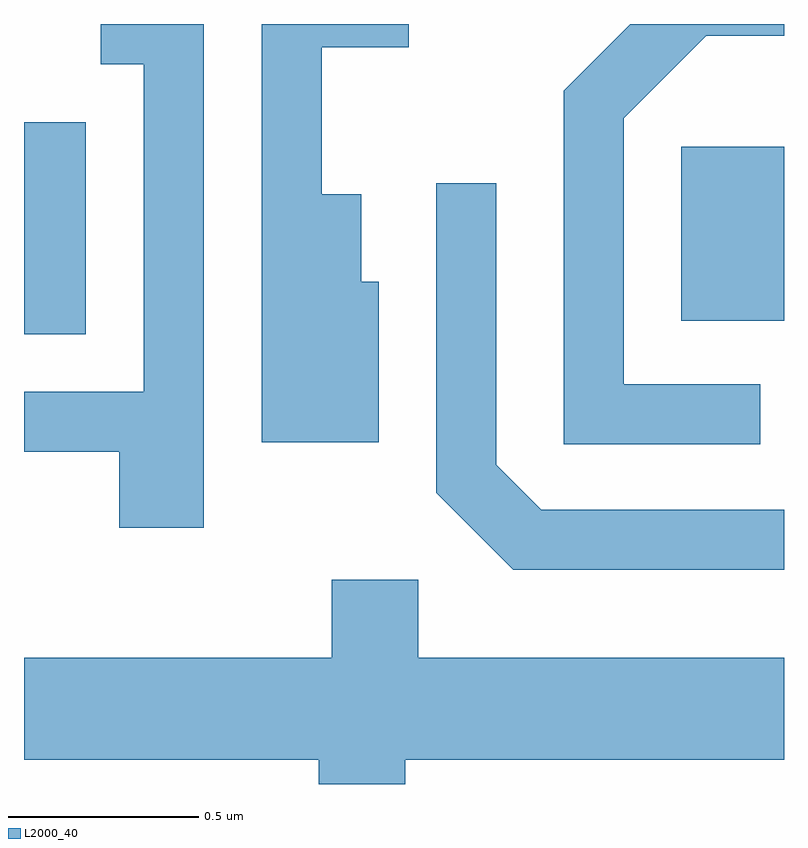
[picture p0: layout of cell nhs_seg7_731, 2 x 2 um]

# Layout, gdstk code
import gdstk
lib = gdstk.Library(unit=1e-6, precision=1e-09)
def R(c, l, rs):  # rectangles x0, y0, x1, y1
    for r in rs: c.add(gdstk.rectangle(r[:2], r[2:], *l))
def P(c, l, *ps):  # polygons
    for p in ps: c.add(gdstk.Polygon(p, *l))
L2000_40 = (2000, 40)

nhs_seg7_731 = lib.new_cell('nhs_seg7_731')
R(nhs_seg7_731, L2000_40, [(190.611,1715.436,190.774,1715.994), (192.341,1715.471,192.611,1715.929)])
P(nhs_seg7_731, L2000_40, [(192.548,1715.304),(192.189,1715.304),(192.189,1716.004),(192.407,1716.221),(192.611,1716.221),(192.611,1716.252),(192.207,1716.252),(192.031,1716.077),(192.031,1715.146),(192.548,1715.146)],
  [(191.084,1716.252),(190.813,1716.252),(190.813,1716.146),(190.926,1716.146),(190.926,1715.284),(190.611,1715.284),(190.611,1715.126),(190.861,1715.126),(190.861,1714.926),(191.084,1714.926)],
  [(191.544,1715.574),(191.499,1715.574),(191.499,1715.804),(191.394,1715.804),(191.394,1716.191),(191.623,1716.191),(191.623,1716.252),(191.236,1716.252),(191.236,1715.151),(191.544,1715.151)],
  [(192.611,1714.974),(191.972,1714.974),(191.854,1715.092),(191.854,1715.833),(191.696,1715.833),(191.696,1715.019),(191.899,1714.816),(192.611,1714.816)],
  [(191.614,1714.316),(192.611,1714.316),(192.611,1714.584),(191.649,1714.584),(191.649,1714.789),(191.421,1714.789),(191.421,1714.584),(190.611,1714.584),(190.611,1714.316),(191.386,1714.316),(191.386,1714.252),(191.614,1714.252)])

lib.write_gds('nhs_seg7_731.gds')
